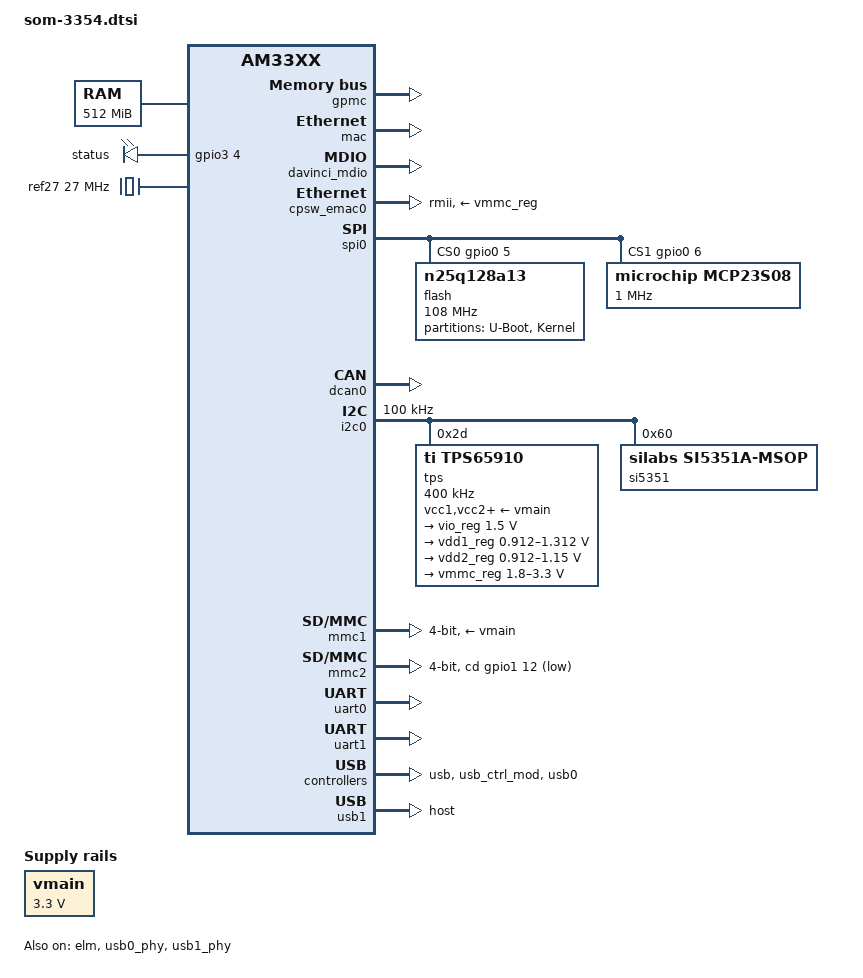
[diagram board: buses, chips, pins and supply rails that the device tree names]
/*
 * som-3354.dtsi - Device Tree inclue file for the SOM-3354M with SOM-2xx carriers.
 *
 * Copyright (C) 2015 EMAC Inc.
 * Copyright (C) 2015 QWERTY Embedded Design
 *
 * This program is free software; you can redistribute it and/or modify
 * it under the terms of the GNU General Public License version 2 as
 * published by the Free Software Foundation.
 */
/dts-v1/;

#include "am33xx.dtsi"
#include <dt-bindings/interrupt-controller/irq.h>
#include <dt-bindings/input/input.h>

#include "som-3354-pinmux.dtsi"

/ {
	compatible = "emac,som3354", "ti,am33xx";
	chosen { 
		stdout-path = &uart0;
	};
	aliases {
		uart6 = &uart6;
		uart7 = &uart7;
	};

	cpus {
		cpu@0 {
			cpu0-supply = <&vdd1_reg>;
		};
	};

	memory {
		device_type = "memory";
		reg = <0x80000000 0x20000000>; /* 512 MB */
	};

	leds {
		compatible = "gpio-leds";
		pinctrl-names = "default";
		pinctrl-0 = <&status_led_gpio_pin>;

		led@0 {
			label = "status";
			gpios = <&gpio3 4 GPIO_ACTIVE_HIGH>;
			default-state = "on";
		};
	};
	vmain: fixedregulator@0 {
		compatible = "regulator-fixed";
		regulator-name = "vmain";
		regulator-min-microvolt = <3300000>;
		regulator-max-microvolt = <3300000>;
		regulator-boot-on;
	};

	// add more regs here for the sd/wifi ect to run to the edge	

	clocks {
		ref27: ref27 {
			#clock-cells = <0>;
			compatible = "fixed-clock";
			clock-frequency = <27000000>;
		};
	};
};

&gpmc {
	status = "okay";
	pinctrl-names = "default";
	pinctrl-0 = <&gpmc_pins &gpmc_gpio_pins>;

	ranges = <0x3 0 0x08000000 0x1000000    /* CS3: DUART */
		  0x4 0 0x09000000 0x1000000>;	/* CS4: CPLD */

	uart6: uart6@3,0 {
		compatible = "ns16550a";
		reg = <0x3 0x0 0x8>;
		clock-frequency = <18432000>;
		bank-width = <1>;
		reg-shift = <0>;
		reg-io-width = <1>;
		fifo-size = <16>;
		interrupt-parent = <&gpio3>;
		interrupts = <9 1>;
		gpmc,mux-add-data = <0>;
		gpmc,device-width = <1>;
		gpmc,wait-pin = <0>;
		gpmc,cycle2cycle-samecsen = <1>;
		gpmc,cycle2cycle-diffcsen = <1>;
		gpmc,cs-on-ns = <18>;
		gpmc,cs-rd-off-ns = <295>;
		gpmc,cs-wr-off-ns = <295>;
		gpmc,adv-on-ns = <73>;
		gpmc,adv-rd-off-ns = <92>;
		gpmc,adv-wr-off-ns = <110>;
		gpmc,oe-on-ns = <110>;
		gpmc,oe-off-ns = <295>;
		gpmc,we-on-ns = <92>;
		gpmc,we-off-ns = <295>;
		gpmc,rd-cycle-ns = <300>;
		gpmc,wr-cycle-ns = <300>;
		gpmc,access-ns = <276>;
		gpmc,page-burst-access-ns = <18>;
		gpmc,bus-turnaround-ns = <20>;
		gpmc,cycle2cycle-delay-ns = <20>;
		gpmc,wr-access-ns = <276>;
		status = "disabled";
	};

	uart7: uart7@3,8 {
		compatible = "ns16550a";
		reg = <0x3 0x8 0x8>;
		interrupt-parent = <&gpio3>;
		interrupts = <10 1>;
		clock-frequency = <18432000>;
		bank-width = <1>;
		reg-shift = <0>;
		reg-io-width = <1>;
		fifo-size = <16>;
		gpmc,mux-add-data = <0>;
		gpmc,device-width = <1>;
		gpmc,wait-pin = <0>;
		gpmc,cycle2cycle-samecsen = <1>;
		gpmc,cycle2cycle-diffcsen = <1>;
		gpmc,cs-on-ns = <18>;
		gpmc,cs-rd-off-ns = <295>;
		gpmc,cs-wr-off-ns = <295>;
		gpmc,adv-on-ns = <73>;
		gpmc,adv-rd-off-ns = <92>;
		gpmc,adv-wr-off-ns = <110>;
		gpmc,oe-on-ns = <110>;
		gpmc,oe-off-ns = <295>;
		gpmc,we-on-ns = <92>;
		gpmc,we-off-ns = <295>;
		gpmc,rd-cycle-ns = <300>;
		gpmc,wr-cycle-ns = <300>;
		gpmc,access-ns = <276>;
		gpmc,page-burst-access-ns = <18>;
		gpmc,bus-turnaround-ns = <20>;
		gpmc,cycle2cycle-delay-ns = <20>;
		gpmc,wr-access-ns = <276>;
		status = "disabled";
	};
};

&mcasp0 {
	#sound-dai-cells = <0>;
	pinctrl-names = "default";
	pinctrl-0 = <&i2s_pins>;

	status = "disabled";

	op-mode = <0>;          /* MCASP_IIS_MODE */
	tdm-slots = <2>;
	/* 4 serializers */
	serial-dir = <  /* 0: INACTIVE, 1: TX, 2: RX */
		2 1 0 0
		>;
	tx-num-evt = <2>;
	rx-num-evt = <2>;
};


&tscadc {
	status = "disabled";
	tsc {
		ti,wires = <4>;
		ti,x-plate-resistance = <200>;
		ti,coordinate-readouts = <5>;
		ti,wire-config = <0x00 0x11 0x22 0x33>;
		ti,charge-delay = <0x4000>;
		ti,open-delay = <0x1000>;
	};

	adc {
		ti,adc-channels = <4 5 6 7>;
	};

};

&mac {
	status = "okay";
	pinctrl-names = "default";
	pinctrl-0 = <&ksz804_rmii_pins &ksz804_rmii_gpio_pins>;
	slaves = <1>;
};

&davinci_mdio {
	pinctrl-names = "default";
	pinctrl-0 = <&ksz804_mdio_pins>;
	status = "okay";
};

&cpsw_emac0 {
	vmmc-supply = <&vmmc_reg>;
	phy_id = <&davinci_mdio>,<0>;
	phy-mode = "rmii";
};

&phy_gmii_sel {
	compatible = "ti,am3352-cpsw-phy-sel";
	reg-names = "gmii-sel";
	rmii-clock-ext;
};

&elm {
	status = "okay";
};

&spi0 {
	ti,spi-num-cs = <6>;
	dmas = <&edma 16 0
		&edma 17 0
		&edma 18 0
		&edma 19 0
		&edma 20 0
		&edma 21 0
		&edma 22 0
		&edma 23 0
		&edma 32 0
		&edma 33 0
		&edma 34 0
		&edma 35 0>;
	dma-names = "tx0", "rx0", "tx1", "rx1", "tx2", "rx2", "tx3", "rx3", "tx4", "rx4", "tx5", "rx5";
	pinctrl-names = "default";
	pinctrl-0 = <&spi0_pins &spi_carrier_cs_gpio_pins &mcp23s08_interrupt_gpio_pin>;
	status = "okay";
	cs-gpios = <&gpio0 5 0>, <&gpio0 6 0>, <&gpio1 15 0>, <&gpio3 8 0>, <&gpio1 14 0>, <&gpio3 18 0>;

	flash: n25q128a13@0 {
		#address-cells = <1>;
		#size-cells = <1>;
		compatible = "n25q128a13", "jedec,spi-nor";
		reg = <0>; /* Chip select 0 */
		spi-max-frequency = <108000000>;

		partitions {
			compatible = "fixed-partitions";
			#address-cells = <1>;
			#size-cells = <1>;

			partition@20000 {
				label = "U-Boot";
				reg = <0 020000>;
			};
			partition@10000 {
				label = "Kernel";
				reg = <0x100000 0xc00000>;
			};
		};
	};

	mcp23s08: mcp23s08@1 {
		compatible = "microchip,mcp23s08";
		gpio-controller;
		#gpio-cells = <2>;
		reg = <1>;

		microchip,spi-present-mask = <0x01>;
		spi-max-frequency = <1000000>;
		
		/*
		* interrupt-parent = <&gpio3>;
		* interrupts = <3 IRQ_TYPE_LEVEL_LOW>;
		* interrupt-names = "mcp23s08@1 irq";
		* interrupt-controller;
		* #interrupt-cells=<2>;
		* microchip,irq-mirror;
		*/
		pinctrl-names = "default";
		pinctrl-0 = <&gpiopullups>;
		
		status = "okay";

		gpiopullups: pinmux {
			pins =	"gpio0", "gpio1", "gpio2", "gpio3",
				"gpio4", "gpio5", "gpio6", "gpio7";
			bias-pull-up;
		};
	};

};

&dcan0 {
	status = "okay";
	pinctrl-names = "default";
	pinctrl-0 = <&can_pins>;
};

&i2c0 {
	status = "okay";
	pinctrl-names = "default";
	pinctrl-0 = <&i2c0_pins>;

	clock-frequency = <100000>;

	tps: tps@2d {
		compatible = "ti,tps65910";
		clock-frequency = <400000>;
		reg = <0x2d>;
	};

	si5351: clock-generator@60 {
		#address-cells = <1>;
		#size-cells = <0>;
		#clock-cells = <1>;
		compatible = "silabs,si5351a-msop";
		reg = <0x60>;
		status = "okay";

		/* connect xtal input to 27MHz reference */
		clocks = <&ref27>;
		clock-names = "xtal";

		/* connect xtal input as source of pll0 and pll1 */
		silabs,pll-source = <0 0>, <1 0>;

		clkout0: clkout0 {
			reg = <0>;
			silabs,drive-strength = <8>;
			silabs,multisynth-source = <1>;
			silabs,clock-source = <0>;
			silabs,pll-master;
			silabs,disable-state = <3>;
			clock-frequency = <18432000>;
		 };

		clkout1: clkout1 {
			reg = <1>;
			silabs,drive-strength = <8>;
			silabs,multisynth-source = <0>;
			silabs,clock-source = <0>;
			silabs,pll-master;
			silabs,disable-state = <3>;
			clock-frequency = <8000000>;
		};

		clkout2: clkout2 {
			reg = <2>;
			silabs,drive-strength = <8>;
			silabs,multisynth-source = <1>;
			silabs,clock-source = <0>;
			silabs,disable-state = <3>;
			clock-frequency = <12288000>;
			silabs,pll-reset;
		};
	};
};

&mmc1 {
	status = "okay";
	pinctrl-names = "default";
	pinctrl-0 = <&mmc0_pins>;
	vmmc-supply = <&vmain>;
	bus-width = <4>;
	ti,non-removable;
};

&mmc2 {
	pinctrl-names = "default";
	pinctrl-0 = <&mmc1_pins &mmc1_card_detect_gpio_pin>;
	bus-width = <4>;
	cd-gpios = <&gpio1 12 GPIO_ACTIVE_LOW>;
};

&uart0 {
	pinctrl-names = "default";
	pinctrl-0 = <&uart0_pins>;
	/* wakeirq = 0; //omap-serial.c (optional) */
	status = "okay";
};

&uart1 {
	pinctrl-names = "default";
	pinctrl-0 = <&uart1_pins>;
	rs485-rts-active-high;
	rs485-rts-delay = <1 1>;
	/* wakeirq = 0; //omap-serial.c (optional) */
	status = "okay";
};

&usb {
	status = "okay";
};

&usb_ctrl_mod {
	status = "okay";
};

&usb0_phy {
	vmmc-supply = <&vmmc_reg>;
	status = "okay";
};

&usb1_phy {
	vmmc-supply = <&vmmc_reg>;
	status = "okay";
};

&usb0 {
	pinctrl-names = "default";
	pinctrl-0 = <&usb_otg_pins>;
	/* drv-gpios = <&gpio0 18 GPIO_ACTIVE_HIGH>; */
	status = "okay";
};

&usb1 {
	pinctrl-names = "default";
	pinctrl-0 = <&usb1_pins>;
	dr_mode = "host";
	status = "okay";
};

&cppi41dma  {
	status = "okay";
};

#include "tps65910.dtsi"

&tps {
	vcc1-supply = <&vmain>;
	vcc2-supply = <&vmain>;
	vcc3-supply = <&vmain>;
	vcc4-supply = <&vmain>;
	vcc5-supply = <&vmain>;
	vcc6-supply = <&vmain>;
	vcc7-supply = <&vmain>;
	vccio-supply = <&vmain>;
	regulators {

	        // NC
		vrtc_reg: regulator@0 {
			status = "disabled";
		};


		vio_reg: regulator@1 {
			reg = <1>;
			regulator-min-microvolt = <1500000>;
			regulator-max-microvolt = <1500000>;
			regulator-always-on;
			regulator-boot-on;
			// ti,regulator-ext-sleep-control = <1>;
		};


		vdd1_reg: regulator@2 {
			regulator-min-microvolt = <912500>;
			regulator-max-microvolt = <1312500>;
			regulator-boot-on;
			regulator-always-on;
		};

		vdd2_reg: regulator@3 {
			regulator-min-microvolt = <912500>;
			regulator-max-microvolt = <1150000>;
			regulator-boot-on;
			regulator-always-on;
		};

		vdd3_reg: regulator@4 {
			regulator-always-on;
		};

		// NC 
		vdig1_reg: regulator@5 {
			status = "disabled";
		};

		//NC
		vdig2_reg: regulator@6 {
			status = "disabled";
		};

		//NC
		vpll_reg: regulator@7 {
			status = "disabled";
		};

		//NC
		vdac_reg: regulator@8 {
			status = "disabled";
		};

		// NC
		vaux1_reg: regulator@9 {
			status = "disabled";
		};
		// NC
		vaux2_reg: regulator@10 {
			status = "disabled";
		};

		//NC	
		vaux33_reg: regulator@11 {
			status = "disabled";
		};
		
		vmmc_reg: regulator@12 {
			/* most peripherals power rail */
			regulator-min-microvolt = <1800000>;
			regulator-max-microvolt = <3300000>;
			regulator-always-on;
		};

		vbb_reg: regulator@13 {
			status = "disabled";
		};

	};
};
